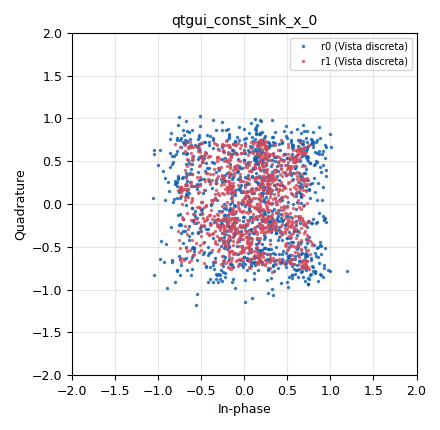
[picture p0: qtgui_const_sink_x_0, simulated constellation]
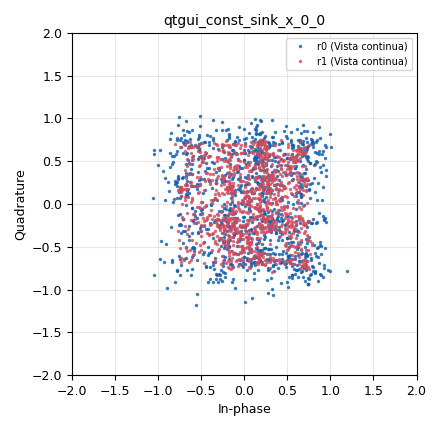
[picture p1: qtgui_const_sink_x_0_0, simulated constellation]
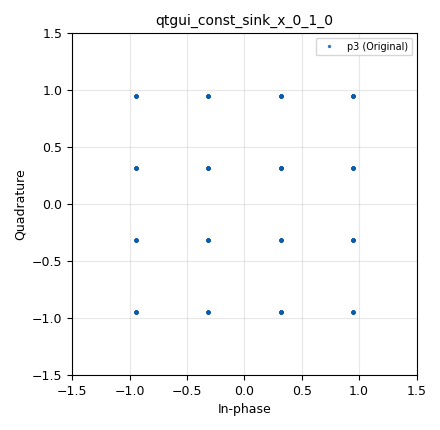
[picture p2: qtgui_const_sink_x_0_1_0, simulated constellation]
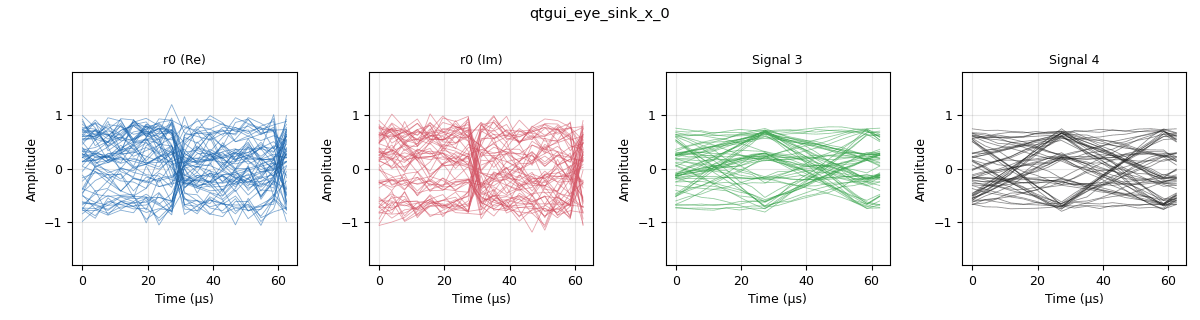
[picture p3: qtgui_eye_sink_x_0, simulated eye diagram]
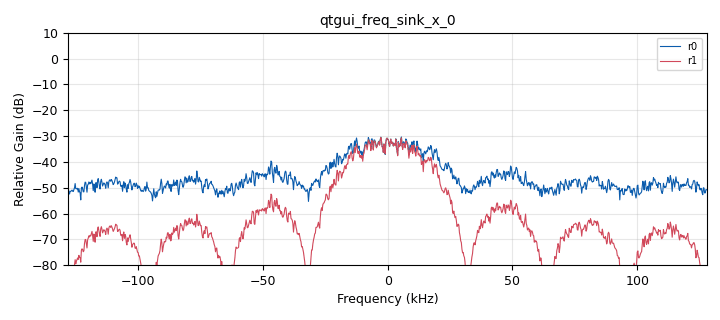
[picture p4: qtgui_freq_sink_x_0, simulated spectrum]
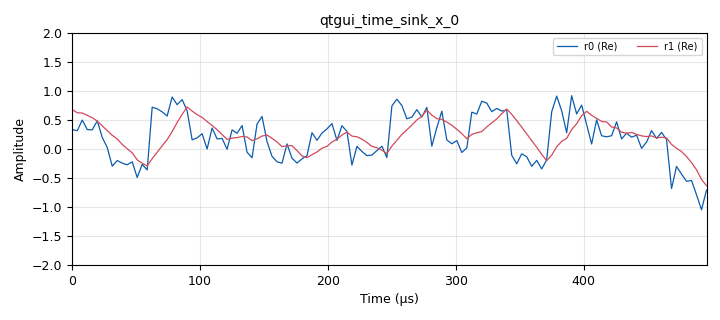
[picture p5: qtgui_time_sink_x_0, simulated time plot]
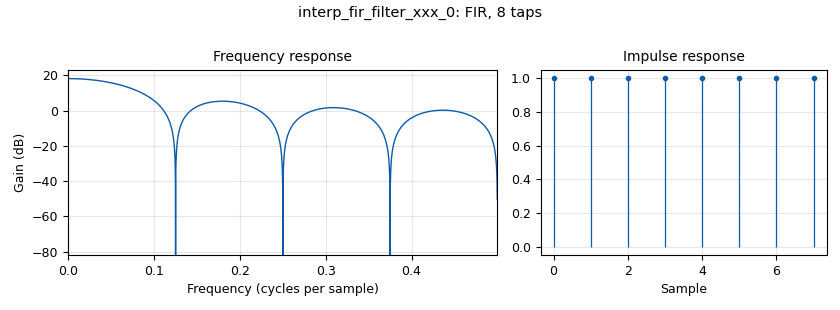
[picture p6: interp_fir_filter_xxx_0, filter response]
options:
  parameters:
    author: Homero Ortega Boada
    description: Lo máximo para practicar el tema de Filtro Coseno Alzado
    generate_options: qt_gui
    id: top_block
    output_language: python
    title: top_block
  states: {}

blocks:
- name: BW_filtro
  id: variable_qtgui_range
  parameters:
    gui_hint: 0,0,1,1
    start: '0'
    step: Fmax/100
    stop: Fmax
    value: Fmax
  states: {}
- name: Ch_phase
  id: variable_qtgui_range
  parameters:
    gui_hint: 0,1,1,1
    label: Ch_phase
    start: '0'
    step: 1/100
    stop: math.pi*2
    value: '0'
  states: {}
- name: Delay_eye
  id: variable_qtgui_range
  parameters:
    gui_hint: 3,0,1,1
    label: Centering the Eye
    rangeType: int
    start: '0'
    step: '1'
    stop: Sps-1
    value: '0'
  states: {}
- name: Fmax
  id: variable
  parameters:
    value: samp_rate/2
  states: {}
- name: Gain_USRP_Rx_dB
  id: variable_qtgui_range
  parameters:
    gui_hint: 4,1,1,1
    label: Gain_USRP_Rx (dB)
    start: '0.'
    step: '1'
    stop: '130'
    value: '20'
    widget: counter
  states: {}
- name: Gain_USRP_Tx_dB
  id: variable_qtgui_range
  parameters:
    gui_hint: 3,1,1,1
    label: Gain_USRP_Tx (dB)
    start: '0.'
    step: '1'
    stop: '130'
    value: '30.'
    widget: counter
  states: {}
- name: M
  id: variable
  parameters:
    value: len(constelacion )
  states: {}
- name: Pn
  id: variable_qtgui_range
  parameters:
    gui_hint: 2,0,1,1
    label: Potencia del ruido
    start: '0'
    step: 1/100
    stop: '1'
    value: '0.05'
  states: {}
- name: Rb
  id: variable
  parameters:
    value: Rs*bps
  states: {}
- name: Rs
  id: variable
  parameters:
    value: '32000'
  states: {}
- name: Sps
  id: variable
  parameters:
    value: '8'
  states: {}
- name: Timing
  id: variable_qtgui_range
  parameters:
    gui_hint: menu@4:1,0,1,1
    label: Timing
    rangeType: int
    start: '0'
    step: '1'
    stop: Sps-1
    value: '1'
  states: {}
- name: beta
  id: variable_qtgui_range
  parameters:
    gui_hint: 1,0,1,1
    label: beta
    start: '0'
    step: 1/100
    stop: '1'
    value: '1'
  states: {}
- name: bps
  id: variable
  parameters:
    value: int(math.log(M,2))
  states: {}
- name: ch_freq
  id: variable_qtgui_range
  parameters:
    gui_hint: 1,1,1,1
    label: ch_freq
    start: '0'
    step: 1/100
    stop: '100'
    value: '0'
  states: {}
- name: constelacion
  id: variable
  parameters:
    value: digital.constellation_16qam().points()
  states: {}
- name: fading
  id: variable_qtgui_range
  parameters:
    gui_hint: 2,1,1,1
    label: fading
    start: '0'
    step: 1/100
    stop: '1'
    value: '1'
  states: {}
- name: h
  id: variable
  parameters:
    value: wform.rcos(Sps,ntaps,beta)
  states: {state: disabled}
- name: h
  id: variable
  parameters:
    value: '[1]*Sps'
  states: {}
- name: h_0
  id: variable
  parameters:
    value: wform.rrcos(Sps,ntaps,beta)
  states: {state: disabled}
- name: ntaps
  id: variable
  parameters:
    value: 16*Sps
  states: {}
- name: retardo_propag
  id: variable_qtgui_range
  parameters:
    gui_hint: menu@4:0,0,1,1
    label: Delay_Propagation_Compensation
    rangeType: int
    start: '0'
    step: '1'
    stop: Sps*ntaps
    value: '1'
  states: {}
- name: samp_rate
  id: variable
  parameters:
    value: Rs*Sps
  states: {}
- name: analog_agc3_xx_0
  id: analog_agc3_xx
  parameters:
    attack_rate: '1e-3'
    decay_rate: '1e-4'
    gain: '1.0'
    iir_update_decim: '1'
    max_gain: '65536'
    reference: '1.0'
    type: complex
  states: {}
- name: analog_noise_source_x_0
  id: analog_noise_source_x
  parameters:
    amp: math.sqrt(Pn)
    noise_type: analog.GR_GAUSSIAN
    seed: '0'
    type: complex
  states: {}
- name: analog_random_source_x_0
  id: analog_random_source_x
  parameters:
    max: '2'
    min: '0'
    num_samps: '1000'
    repeat: 'True'
    type: byte
  states: {}
- name: analog_sig_source_x_0
  id: analog_sig_source_x
  parameters:
    amp: '1'
    freq: ch_freq
    offset: '0'
    phase: '0'
    samp_rate: samp_rate
    type: complex
    waveform: analog.GR_COS_WAVE
  states: {}
- name: b_FLL_tunner2_0
  id: b_FLL_tunner2
  parameters:
    Constellation: constelacion
  states: {}
- name: b_demod_constelacion_cb_0
  id: b_demod_constelacion_cb
  parameters:
    Constelacion: constelacion
  states: {}
- name: b_diez_cc_0
  id: b_diez_cc
  parameters:
    M: Timing
    N: Sps
  states: {}
- name: b_diezmador_ff_0
  id: b_diezmador_ff
  parameters:
    Paso: '1000'
  states: {}
- name: b_meter_power_cc_0
  id: b_meter_power_cc
  parameters:
    G_prom: '0.0001'
  states: {}
- name: b_upconverter_cf_0
  id: b_upconverter_cf
  parameters:
    Fc: Rs*2
    samp_rate: samp_rate
  states: {}
- name: blocks_add_xx_0
  id: blocks_add_xx
  parameters:
    type: complex
  states: {}
- name: blocks_char_to_float_0
  id: blocks_char_to_float
  parameters:
    scale: '1'
  states: {}
- name: blocks_char_to_float_0_0
  id: blocks_char_to_float
  parameters:
    scale: '1'
  states: {}
- name: blocks_char_to_float_0_0_0
  id: blocks_char_to_float
  parameters:
    scale: '1'
  states: {}
- name: blocks_char_to_float_0_1
  id: blocks_char_to_float
  parameters:
    scale: '1'
  states: {}
- name: blocks_complex_to_float_0
  id: blocks_complex_to_float
  parameters: {}
  states: {}
- name: blocks_complex_to_float_0_0
  id: blocks_complex_to_float
  parameters: {}
  states: {}
- name: blocks_delay_0
  id: blocks_delay
  parameters:
    delay: Delay_eye
    num_ports: '2'
    type: complex
  states: {}
- name: blocks_delay_1
  id: blocks_delay
  parameters:
    delay: '0'
    type: complex
  states: {}
- name: blocks_delay_1_0
  id: blocks_delay
  parameters:
    delay: retardo_propag
    type: complex
  states: {}
- name: blocks_delay_1_0_0
  id: blocks_delay
  parameters:
    delay: retardo_propag
    type: byte
  states: {}
- name: blocks_delay_1_0_0_0
  id: blocks_delay
  parameters:
    delay: retardo_propag*bps
    type: byte
  states: {}
- name: blocks_multiply_const_vxx_0
  id: blocks_multiply_const_vxx
  parameters:
    const: 1/Sps
    type: complex
  states: {}
- name: blocks_multiply_const_vxx_1
  id: blocks_multiply_const_vxx
  parameters:
    const: np.exp(1j*Ch_phase)
    type: complex
  states: {}
- name: blocks_multiply_const_vxx_1_0
  id: blocks_multiply_const_vxx
  parameters:
    const: fading
    type: complex
  states: {}
- name: blocks_multiply_const_vxx_1_0_0
  id: blocks_multiply_const_vxx
  parameters:
    const: '0.7'
    type: complex
  states: {}
- name: blocks_multiply_xx_0
  id: blocks_multiply_xx
  parameters:
    type: complex
  states: {}
- name: blocks_null_sink_0
  id: blocks_null_sink
  parameters:
    num_inputs: '2'
    type: float
  states: {}
- name: blocks_pack_k_bits_bb_0
  id: blocks_pack_k_bits_bb
  parameters:
    k: '8'
  states: {}
- name: blocks_packed_to_unpacked_xx_0
  id: blocks_packed_to_unpacked_xx
  parameters:
    bits_per_chunk: bps
    endianness: gr.GR_MSB_FIRST
    type: byte
  states: {}
- name: blocks_throttle2_0
  id: blocks_throttle2
  parameters:
    samples_per_second: samp_rate
    type: complex
  states: {}
- name: blocks_throttle_0
  id: blocks_throttle
  parameters:
    samples_per_second: samp_rate
    type: complex
  states: {state: disabled}
- name: blocks_unpack_k_bits_bb_0
  id: blocks_unpack_k_bits_bb
  parameters:
    k: '8'
  states: {}
- name: blocks_unpacked_to_packed_xx_0
  id: blocks_unpacked_to_packed_xx
  parameters:
    bits_per_chunk: bps
    endianness: gr.GR_MSB_FIRST
    type: byte
  states: {}
- name: blocks_vector_source_x_0
  id: blocks_vector_source_x
  parameters:
    repeat: 'True'
    type: byte
    vector: (1, 0, 1,1,0,0,1,0)
  states: {state: disabled}
- name: digital_chunks_to_symbols_xx_0
  id: digital_chunks_to_symbols_xx
  parameters:
    dimension: '1'
    in_type: byte
    out_type: complex
    symbol_table: constelacion
  states: {}
- name: digital_diff_decoder_bb_0
  id: digital_diff_decoder_bb
  parameters:
    coding: digital.DIFF_DIFFERENTIAL
    modulus: M
  states: {}
- name: digital_diff_encoder_bb_0
  id: digital_diff_encoder_bb
  parameters:
    coding: digital.DIFF_DIFFERENTIAL
    modulus: M
  states: {}
- name: digital_diff_encoder_bb_1
  id: digital_diff_encoder_bb
  parameters:
    coding: digital.DIFF_DIFFERENTIAL
    modulus: M-1
  states: {state: disabled}
- name: epy_block_0
  id: epy_block
  parameters:
    _source_code: |
      import numpy as np
      from gnuradio import gr

      class inversedB(gr.sync_block):  

          def __init__(self, ): 
              gr.sync_block.__init__(
                  self,
                  name='e_inversedB_ff',
                  in_sig=[np.float32],
                  out_sig=[np.float32]
              )

          def work(self, input_items, output_items):
              x=input_items[0]
              y=output_items[0]
              y[:]=np.power(10,x)
              return len(y)
  states: {}
- name: fec_ber_bf_0
  id: fec_ber_bf
  parameters:
    test_mode: 'False'
  states: {}
- name: import_0
  id: import
  parameters:
    imports: import math
  states: {}
- name: import_0_0
  id: import
  parameters:
    imports: import random
  states: {}
- name: import_0_0_0
  id: import
  parameters:
    imports: import numpy as np
  states: {}
- name: interp_fir_filter_xxx_0
  id: interp_fir_filter_xxx
  parameters:
    interp: Sps
    taps: h
    type: ccf
  states: {}
- name: interp_fir_filter_xxx_0_0
  id: interp_fir_filter_xxx
  parameters:
    interp: '1'
    taps: h
    type: ccf
  states: {}
- name: menu
  id: qtgui_tab_widget
  parameters:
    gui_hint: 10,0,1,2
    label0: Time
    label1: PSD
    label2: Eye Diagram
    label3: Constellation
    label4: Timing
    label5: M-PAM
    label6: Bits
    label7: RF
    num_tabs: '8'
  states: {}
- name: note_0
  id: note
  parameters:
    note: M-PAM
  states: {}
- name: note_0_0
  id: note
  parameters:
    note: DIFF MODULATION
  states: {}
- name: note_0_0_0
  id: note
  parameters:
    note: PRE-CHANNEL
  states: {}
- name: qtgui_const_sink_x_0
  id: qtgui_const_sink_x
  parameters:
    gui_hint: menu@3:0,0,1,1
    label1: r0 (Vista discreta)
    label2: r1 (Vista discreta)
    nconnections: '2'
    size: '1024'
    type: complex
  states: {}
- name: qtgui_const_sink_x_0_0
  id: qtgui_const_sink_x
  parameters:
    color1: '"magenta"'
    gui_hint: menu@3:0,1,1,1
    label1: r0 (Vista continua)
    label2: r1 (Vista continua)
    marker1: '-1'
    marker2: '-1'
    nconnections: '2'
    size: '1024'
    style1: '1'
    style2: '1'
    type: complex
    width1: '3'
  states: {}
- name: qtgui_const_sink_x_0_1
  id: qtgui_const_sink_x
  parameters:
    gui_hint: menu@3:1,0,1,1
    label1: r3
    size: '1024'
    type: complex
    xmax: '1.5'
    xmin: '-1.5'
    ymax: '1.5'
    ymin: '-1.5'
  states: {}
- name: qtgui_const_sink_x_0_1_0
  id: qtgui_const_sink_x
  parameters:
    gui_hint: menu@3:1,1,1,1
    label1: p3 (Original)
    size: '1024'
    type: complex
    xmax: '1.5'
    xmin: '-1.5'
    ymax: '1.5'
    ymin: '-1.5'
  states: {}
- name: qtgui_const_sink_x_1
  id: qtgui_const_sink_x
  parameters:
    gui_hint: menu@4:2,0,1,1
    size: '1024'
    type: complex
  states: {}
- name: qtgui_eye_sink_x_0
  id: qtgui_eye_sink_x
  parameters:
    gui_hint: menu@2:1,0,1,1
    label1: r0 (Re)
    label2: r0 (Im)
    nconnections: '2'
    samp_per_symbol: Sps
    size: '1024'
    srate: samp_rate
    type: complex
    width1: '4'
    width2: '4'
    ymax: '1.8'
    ymin: '-1.8'
  states: {}
- name: qtgui_freq_sink_x_0
  id: qtgui_freq_sink_x
  parameters:
    average: '0.05'
    bw: samp_rate
    fc: '0'
    fftsize: '1024'
    gui_hint: menu@1:0,0,1,1
    label1: r0
    label2: r1
    nconnections: '2'
    type: complex
    width1: '3'
    width2: '3'
    ymin: '-80'
  states: {}
- name: qtgui_freq_sink_x_0_0
  id: qtgui_freq_sink_x
  parameters:
    average: '0.05'
    bw: samp_rate
    fc: '0'
    fftsize: '1024'
    gui_hint: menu@1:1,0,1,1
    label1: t3
    type: complex
    width1: '3'
    ymin: '-80'
  states: {}
- name: qtgui_number_sink_0
  id: qtgui_number_sink
  parameters:
    graph_type: qtgui.NUM_GRAPH_HORIZ
    gui_hint: menu@6:1,0,1,1
    name: BER
    type: float
  states: {}
- name: qtgui_time_sink_x_0
  id: qtgui_time_sink_x
  parameters:
    gui_hint: menu@0:1,0,1,1
    label1: r0 (Re)
    label2: r1 (Re)
    nconnections: '2'
    size: 16*Sps
    srate: samp_rate
    type: float
    width1: '3'
    width2: '3'
    ymax: '2'
    ymin: '-2'
  states: {}
- name: qtgui_time_sink_x_0_0
  id: qtgui_time_sink_x
  parameters:
    color1: red
    gui_hint: menu@0:2,0,1,1
    label1: r0 (Im)
    label2: r1 (Im)
    nconnections: '2'
    size: 16*Sps
    srate: samp_rate
    type: float
    width1: '3'
    width2: '3'
    ymax: '2'
    ymin: '-2'
  states: {}
- name: qtgui_time_sink_x_0_0_0
  id: qtgui_time_sink_x
  parameters:
    color1: red
    gui_hint: menu@7:2,0,1,1
    label1: RF
    size: 8*Sps
    srate: samp_rate
    type: float
    width1: '3'
    ymax: '2'
    ymin: '-2'
  states: {}
- name: qtgui_time_sink_x_1
  id: qtgui_time_sink_x
  parameters:
    color3: magenta
    gui_hint: menu@4:3,0,1,2
    label1: t3 (RE)
    label2: t3 (Im)
    label3: r3 (Re)
    label4: r3 (Im)
    marker1: '0'
    marker2: '0'
    marker3: '0'
    marker4: '0'
    nconnections: '2'
    size: '32'
    srate: Rs
    stemplot: 'True'
    type: complex
    width1: '3'
    width2: '3'
    width3: '3'
    width4: '3'
    ymax: '1.5'
    ymin: '-1.5'
  states: {}
- name: qtgui_time_sink_x_2
  id: qtgui_time_sink_x
  parameters:
    gui_hint: menu@5:4,0,1,1
    label1: t4
    label2: r4
    marker1: '0'
    marker2: '0'
    nconnections: '2'
    size: '32'
    srate: Rs
    stemplot: 'True'
    type: float
    width1: '3'
    width2: '3'
    ymax: M
  states: {}
- name: qtgui_time_sink_x_2_0
  id: qtgui_time_sink_x
  parameters:
    gui_hint: menu@6:4,0,1,1
    label1: t4
    label2: r4
    marker1: '0'
    marker2: '0'
    nconnections: '2'
    size: 32*bps
    srate: Rb
    stemplot: 'True'
    type: float
    width1: '3'
    width2: '3'
    ymax: '1.5'
    ymin: '-0.5'
  states: {}
- name: qtgui_time_sink_x_3
  id: qtgui_time_sink_x
  parameters:
    gui_hint: menu@4:2,1,1,1
    name: '"Power meter (dB)"'
    size: '1024'
    srate: samp_rate
    type: float
    width1: '3'
    ymax: '6'
    ymin: '-20'
  states: {}
- name: virtual_sink_0
  id: virtual_sink
  parameters:
    stream_id: r0
  states: {}
- name: virtual_sink_0_0
  id: virtual_sink
  parameters:
    stream_id: p2
  states: {}
- name: virtual_sink_0_0_0
  id: virtual_sink
  parameters:
    stream_id: t3
  states: {}
- name: virtual_sink_0_0_0_0
  id: virtual_sink
  parameters:
    stream_id: r3
  states: {}
- name: virtual_sink_0_0_0_0_0
  id: virtual_sink
  parameters:
    stream_id: r4
  states: {}
- name: virtual_sink_0_0_0_0_0_0
  id: virtual_sink
  parameters:
    stream_id: r5
  states: {}
- name: virtual_sink_0_0_0_1
  id: virtual_sink
  parameters:
    stream_id: t4
  states: {}
- name: virtual_sink_0_0_0_1_0
  id: virtual_sink
  parameters:
    stream_id: t5
  states: {}
- name: virtual_sink_0_1
  id: virtual_sink
  parameters:
    stream_id: r1
  states: {}
- name: virtual_sink_0_2
  id: virtual_sink
  parameters:
    stream_id: t0
  states: {}
- name: virtual_source_0
  id: virtual_source
  parameters:
    stream_id: r0
  states: {}
- name: virtual_source_0_0
  id: virtual_source
  parameters:
    stream_id: r3
  states: {}
- name: virtual_source_0_0_0
  id: virtual_source
  parameters:
    stream_id: t3
  states: {}
- name: virtual_source_0_0_0_0
  id: virtual_source
  parameters:
    stream_id: t4
  states: {}
- name: virtual_source_0_0_0_0_0
  id: virtual_source
  parameters:
    stream_id: r4
  states: {}
- name: virtual_source_0_0_0_0_0_0
  id: virtual_source
  parameters:
    stream_id: r5
  states: {}
- name: virtual_source_0_0_0_0_1
  id: virtual_source
  parameters:
    stream_id: t5
  states: {}
- name: virtual_source_0_1
  id: virtual_source
  parameters:
    stream_id: r1
  states: {}
- name: virtual_source_0_1_0
  id: virtual_source
  parameters:
    stream_id: t3
  states: {}
- name: virtual_source_0_1_0_0
  id: virtual_source
  parameters:
    stream_id: r3
  states: {}
- name: wform
  id: epy_module
  parameters:
    source_code: |
      import math
      import numpy
      #######################################################
      ##        Hecho por Homero Ortega Boada              ##
      ##        comdiguis@saber.uis.edu.co                 ##
      ##     Universidad Industrial de Santander           ##
      #######################################################

      #######################################################
      ##               Forma rectangular                   ##
      #######################################################                       
      def rect(Sps):
          return Sps*[1.,]

      #######################################################
      ##               Forma de Nyquist                    ##
      #######################################################                       
      def nyq(Sps,ntaps):
          n=numpy.linspace(-int(ntaps/2), int(ntaps/2-1),ntaps)
          h=numpy.sinc(n/Sps)
      #    return h/numpy.amax(h)
          return h
      #######################################################
      ##               Forma Coseno Alzado                 ##
      #######################################################                       
      def rcos(Sps,ntaps,beta):
          if beta==0:
              h=nyq(Sps,ntaps)
          else:
              h=ntaps*[0,]
              for n in range(ntaps):
                  k=n-ntaps/2. # esto es para que h[n] quede centrada en la mitad del vector
                  if abs(k)==Sps/(2.*beta):
                      h[n]=numpy.sinc(1./(2.*beta))*math.pi/4.
                  else:
                      h[n]=numpy.sinc(k/Sps)*math.cos(beta*k*math.pi/Sps)/(1.-(2.*beta*k/Sps)**2)                
          Amp=numpy.amax(h)
          return h/Amp
      #######################################################
      ##            Forma Raiz de Coseno Alzado            ##
      #######################################################                       

      def rrcos(Sps,ntaps,beta):
          if beta==0:
              h=nyq(Sps,ntaps)
          else:
              h=ntaps*[0,]
              beta4=4.*beta
              for n in range(ntaps):
                  k=n-ntaps/2. # esto es para que h[n] quede centrada en la mitad del vector
                  if k==0:
                      h[n]=1+beta*(4./math.pi-1.)
                  elif abs(k)==Sps/beta4:
                      ha=(1.+2./math.pi)*math.sin(math.pi/beta4)
                      hb=(1.-2./math.pi)*math.cos(math.pi/beta4)
                      h[n]=(ha+hb)*beta/math.sqrt(2.)
                  else:
                      ks=k/Sps
                      kspi=math.pi*ks
                      Num=math.sin(kspi*(1-beta))+beta4*ks*math.cos(kspi*(1+beta))
                      Den=kspi*(1.-(beta4*ks)**2)
                      h[n]=Num/Den                
          Amp=numpy.amax(h)
          return h/Amp
      ########################################################
      ##     Bipolar non return to zero level signal        ##
      ########################################################
      def B_NRZ_L(Sps):
          return Sps*[1.,]

      ########################################################
      ##  Forma sinc . Es la misma nyq() que aparece arriba ##
      ########################################################
      def sinc(Sps,ntaps):
          n=np.linspace(-int(ntaps/2), int(ntaps/2-1),ntaps)
          h=np.sinc(n/Sps)
          return h
      ########################################################
      ##              forma diente se sierra                ##
      ########################################################
      def saw(Sps):
          return np.linspace(0,Sps-1,Sps)	
      ########################################################
      #         Bipolar non return to zero signal           ##
      ########################################################
      def RZ(Sps):
          h=Sps*[1.,]
          Sps_m=int(Sps/2)
          h[Sps_m+1:Sps:1]=np.zeros(Sps-Sps_m)
          return h
  states: {}

connections:
- [analog_agc3_xx_0, '0', b_FLL_tunner2_0, '0']
- [analog_noise_source_x_0, '0', blocks_add_xx_0, '0']
- [analog_noise_source_x_0, '0', virtual_sink_0_0, '0']
- [analog_random_source_x_0, '0', blocks_pack_k_bits_bb_0, '0']
- [analog_random_source_x_0, '0', virtual_sink_0_0_0_1_0, '0']
- [analog_sig_source_x_0, '0', blocks_multiply_xx_0, '1']
- [b_FLL_tunner2_0, '0', b_demod_constelacion_cb_0, '0']
- [b_FLL_tunner2_0, '0', virtual_sink_0_0_0_0, '0']
- [b_demod_constelacion_cb_0, '0', digital_diff_decoder_bb_0, '0']
- [b_demod_constelacion_cb_0, '0', digital_diff_encoder_bb_1, '0']
- [b_diez_cc_0, '0', analog_agc3_xx_0, '0']
- [b_diezmador_ff_0, '0', qtgui_time_sink_x_3, '0']
- [b_meter_power_cc_0, '0', blocks_null_sink_0, '0']
- [b_meter_power_cc_0, '1', b_diezmador_ff_0, '0']
- [b_meter_power_cc_0, '2', blocks_null_sink_0, '1']
- [b_upconverter_cf_0, '0', qtgui_time_sink_x_0_0_0, '0']
- [blocks_add_xx_0, '0', blocks_delay_1, '0']
- [blocks_char_to_float_0, '0', qtgui_time_sink_x_2, '0']
- [blocks_char_to_float_0_0, '0', qtgui_time_sink_x_2, '1']
- [blocks_char_to_float_0_0_0, '0', qtgui_time_sink_x_2_0, '1']
- [blocks_char_to_float_0_1, '0', qtgui_time_sink_x_2_0, '0']
- [blocks_complex_to_float_0, '0', qtgui_time_sink_x_0, '0']
- [blocks_complex_to_float_0, '1', qtgui_time_sink_x_0_0, '0']
- [blocks_complex_to_float_0_0, '0', qtgui_time_sink_x_0, '1']
- [blocks_complex_to_float_0_0, '1', qtgui_time_sink_x_0_0, '1']
- [blocks_delay_0, '0', qtgui_eye_sink_x_0, '0']
- [blocks_delay_0, '1', qtgui_eye_sink_x_0, '1']
- [blocks_delay_1, '0', interp_fir_filter_xxx_0_0, '0']
- [blocks_delay_1, '0', virtual_sink_0, '0']
- [blocks_delay_1_0, '0', qtgui_time_sink_x_1, '0']
- [blocks_delay_1_0_0, '0', blocks_char_to_float_0, '0']
- [blocks_delay_1_0_0_0, '0', blocks_char_to_float_0_1, '0']
- [blocks_delay_1_0_0_0, '0', fec_ber_bf_0, '0']
- [blocks_multiply_const_vxx_0, '0', b_diez_cc_0, '0']
- [blocks_multiply_const_vxx_0, '0', virtual_sink_0_1, '0']
- [blocks_multiply_const_vxx_1, '0', blocks_add_xx_0, '1']
- [blocks_multiply_const_vxx_1_0, '0', blocks_multiply_xx_0, '0']
- [blocks_multiply_const_vxx_1_0_0, '0', interp_fir_filter_xxx_0, '0']
- [blocks_multiply_xx_0, '0', blocks_multiply_const_vxx_1, '0']
- [blocks_pack_k_bits_bb_0, '0', blocks_packed_to_unpacked_xx_0, '0']
- [blocks_packed_to_unpacked_xx_0, '0', digital_diff_encoder_bb_0, '0']
- [blocks_packed_to_unpacked_xx_0, '0', virtual_sink_0_0_0_1, '0']
- [blocks_throttle2_0, '0', blocks_multiply_const_vxx_1_0, '0']
- [blocks_throttle_0, '0', blocks_multiply_const_vxx_1_0, '0']
- [blocks_unpack_k_bits_bb_0, '0', virtual_sink_0_0_0_0_0_0, '0']
- [blocks_unpacked_to_packed_xx_0, '0', blocks_unpack_k_bits_bb_0, '0']
- [blocks_vector_source_x_0, '0', blocks_pack_k_bits_bb_0, '0']
- [blocks_vector_source_x_0, '0', virtual_sink_0_0_0_1_0, '0']
- [digital_chunks_to_symbols_xx_0, '0', blocks_multiply_const_vxx_1_0_0, '0']
- [digital_chunks_to_symbols_xx_0, '0', virtual_sink_0_0_0, '0']
- [digital_diff_decoder_bb_0, '0', blocks_unpacked_to_packed_xx_0, '0']
- [digital_diff_decoder_bb_0, '0', virtual_sink_0_0_0_0_0, '0']
- [digital_diff_encoder_bb_0, '0', digital_chunks_to_symbols_xx_0, '0']
- [digital_diff_encoder_bb_1, '0', blocks_unpacked_to_packed_xx_0, '0']
- [digital_diff_encoder_bb_1, '0', virtual_sink_0_0_0_0_0, '0']
- [epy_block_0, '0', qtgui_number_sink_0, '0']
- [fec_ber_bf_0, '0', epy_block_0, '0']
- [interp_fir_filter_xxx_0, '0', blocks_throttle2_0, '0']
- [interp_fir_filter_xxx_0, '0', blocks_throttle_0, '0']
- [interp_fir_filter_xxx_0, '0', virtual_sink_0_2, '0']
- [interp_fir_filter_xxx_0_0, '0', blocks_multiply_const_vxx_0, '0']
- [virtual_source_0, '0', b_meter_power_cc_0, '0']
- [virtual_source_0, '0', b_upconverter_cf_0, '0']
- [virtual_source_0, '0', blocks_complex_to_float_0, '0']
- [virtual_source_0, '0', blocks_delay_0, '0']
- [virtual_source_0, '0', qtgui_const_sink_x_0, '0']
- [virtual_source_0, '0', qtgui_const_sink_x_0_0, '0']
- [virtual_source_0, '0', qtgui_freq_sink_x_0, '0']
- [virtual_source_0_0, '0', qtgui_const_sink_x_0_1, '0']
- [virtual_source_0_0, '0', qtgui_freq_sink_x_0_0, '0']
- [virtual_source_0_0_0, '0', qtgui_const_sink_x_0_1_0, '0']
- [virtual_source_0_0_0_0, '0', blocks_delay_1_0_0, '0']
- [virtual_source_0_0_0_0_0, '0', blocks_char_to_float_0_0, '0']
- [virtual_source_0_0_0_0_0_0, '0', blocks_char_to_float_0_0_0, '0']
- [virtual_source_0_0_0_0_0_0, '0', fec_ber_bf_0, '1']
- [virtual_source_0_0_0_0_1, '0', blocks_delay_1_0_0_0, '0']
- [virtual_source_0_1, '0', blocks_complex_to_float_0_0, '0']
- [virtual_source_0_1, '0', blocks_delay_0, '1']
- [virtual_source_0_1, '0', qtgui_const_sink_x_0, '1']
- [virtual_source_0_1, '0', qtgui_const_sink_x_0_0, '1']
- [virtual_source_0_1, '0', qtgui_freq_sink_x_0, '1']
- [virtual_source_0_1_0, '0', blocks_delay_1_0, '0']
- [virtual_source_0_1_0_0, '0', qtgui_const_sink_x_1, '0']
- [virtual_source_0_1_0_0, '0', qtgui_time_sink_x_1, '1']

metadata:
  file_format: 1
  grc_version: v3.11.0.0git-810-g1ecb8565
